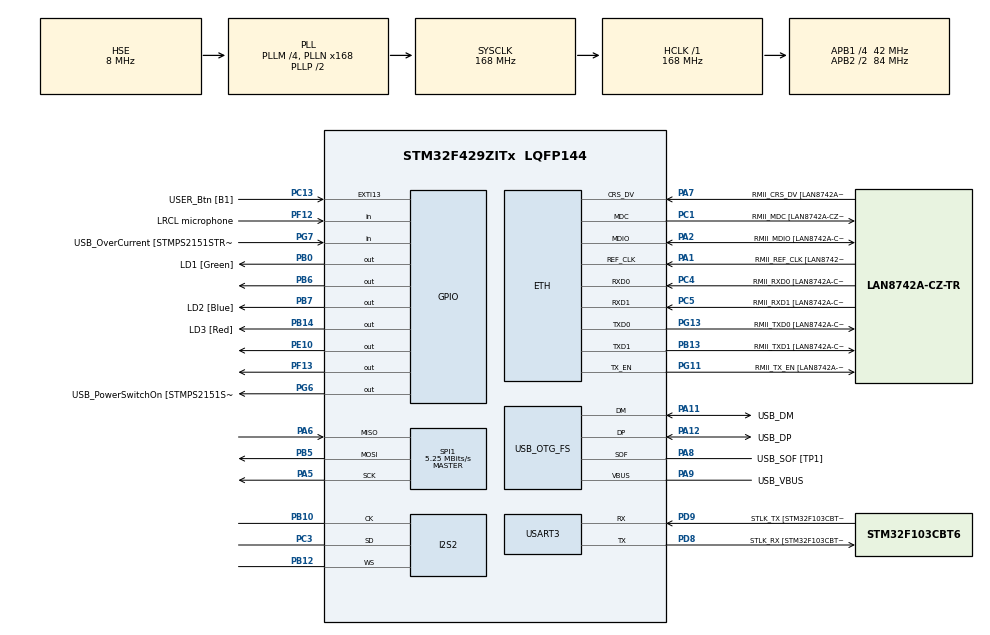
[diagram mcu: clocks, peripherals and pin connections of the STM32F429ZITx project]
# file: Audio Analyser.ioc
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Dma.Request0=SPI2_RX
Dma.SPI2_RX.0.Direction=DMA_PERIPH_TO_MEMORY
Dma.SPI2_RX.0.FIFOMode=DMA_FIFOMODE_DISABLE
Dma.SPI2_RX.0.Instance=DMA1_Stream3
Dma.SPI2_RX.0.MemDataAlignment=DMA_MDATAALIGN_HALFWORD
Dma.SPI2_RX.0.MemInc=DMA_MINC_ENABLE
Dma.SPI2_RX.0.Mode=DMA_NORMAL
Dma.SPI2_RX.0.PeriphDataAlignment=DMA_PDATAALIGN_HALFWORD
Dma.SPI2_RX.0.PeriphInc=DMA_PINC_DISABLE
Dma.SPI2_RX.0.Priority=DMA_PRIORITY_LOW
ETH.MediaInterface=HAL_ETH_RMII_MODE
ETH.PHY_Name=LAN8742A_PHY_ADDRESS
ETH.PHY_Value=0
ETH.PhyAddress=0
I2S2.AudioFreq=I2S_AUDIOFREQ_32K
I2S2.DataFormat=I2S_DATAFORMAT_16B_EXTENDED
I2S2.ErrorAudioFreq=-0.26 %
I2S2.FullDuplexMode=I2S_FULLDUPLEXMODE_DISABLE
I2S2.Instance=SPI$Index
I2S2.Mode=I2S_MODE_MASTER_RX
I2S2.RealAudioFreq=31.914 KHz
I2S2.VirtualMode=I2S_MODE_MASTER
Mcu.Family=STM32F4
Mcu.Name=STM32F429ZITx
Mcu.Package=LQFP144
NVIC.DMA1_Stream3_IRQn=true\:0\:0\:false\:false\:true\:false\:true\:true
NVIC.PriorityGroup=NVIC_PRIORITYGROUP_4
NVIC.TIM2_IRQn=true\:0\:0\:false\:false\:true\:true\:true\:true
PA1.GPIO_Label=RMII_REF_CLK [LAN8742A-CZ-TR_REFCLK0]
PA1.Mode=RMII
PA1.Signal=ETH_REF_CLK
PA10.GPIO_Label=USB_ID
PA10.Signal=USB_OTG_FS_ID
PA11.GPIO_Label=USB_DM
PA11.Mode=Device_Only
PA11.Signal=USB_OTG_FS_DM
PA12.GPIO_Label=USB_DP
PA12.Mode=Device_Only
PA12.Signal=USB_OTG_FS_DP
PA13.GPIO_Label=TMS
PA13.Mode=Serial_Wire
PA13.Signal=SYS_JTMS-SWDIO
PA14.GPIO_Label=TCK
PA14.Mode=Serial_Wire
PA14.Signal=SYS_JTCK-SWCLK
PA2.GPIO_Label=RMII_MDIO [LAN8742A-CZ-TR_MDIO]
PA2.Mode=RMII
PA2.Signal=ETH_MDIO
PA5.Mode=Full_Duplex_Master
PA5.Signal=SPI1_SCK
PA6.Mode=Full_Duplex_Master
PA6.Signal=SPI1_MISO
PA7.GPIO_Label=RMII_CRS_DV [LAN8742A-CZ-TR_CRS_DV]
PA7.Mode=RMII
PA7.Signal=ETH_CRS_DV
PA8.GPIO_Label=USB_SOF [TP1]
PA8.Mode=Activate_SOF_FS
PA8.Signal=USB_OTG_FS_SOF
PA9.GPIO_Label=USB_VBUS
PA9.Mode=Activate_VBUS
PA9.Signal=USB_OTG_FS_VBUS
PB0.GPIO_Label=LD1 [Green]
PB0.Signal=GPIO_Output
PB10.Mode=Half_Duplex_Master
PB10.Signal=I2S2_CK
PB12.Mode=Half_Duplex_Master
PB12.Signal=I2S2_WS
PB13.GPIO_Label=RMII_TXD1 [LAN8742A-CZ-TR_TXD1]
PB13.Mode=RMII
PB13.Signal=ETH_TXD1
PB14.GPIO_Label=LD3 [Red]
PB14.Signal=GPIO_Output
PB5.Mode=Full_Duplex_Master
PB5.Signal=SPI1_MOSI
PB6.Signal=GPIO_Output
PB7.GPIO_Label=LD2 [Blue]
PB7.Signal=GPIO_Output
PC1.GPIO_Label=RMII_MDC [LAN8742A-CZ-TR_MDC]
PC1.Mode=RMII
PC1.Signal=ETH_MDC
PC13.GPIO_Label=USER_Btn [B1]
PC13.Signal=GPXTI13
PC14/OSC32_IN.Mode=LSE-External-Oscillator
PC14/OSC32_IN.Signal=RCC_OSC32_IN
PC15/OSC32_OUT.Mode=LSE-External-Oscillator
PC15/OSC32_OUT.Signal=RCC_OSC32_OUT
PC3.Mode=Half_Duplex_Master
PC3.Signal=I2S2_SD
PC4.GPIO_Label=RMII_RXD0 [LAN8742A-CZ-TR_RXD0]
PC4.Mode=RMII
PC4.Signal=ETH_RXD0
PC5.GPIO_Label=RMII_RXD1 [LAN8742A-CZ-TR_RXD1]
PC5.Mode=RMII
PC5.Signal=ETH_RXD1
PD8.GPIO_Label=STLK_RX [STM32F103CBT6_PA3]
PD8.Mode=Asynchronous
PD8.Signal=USART3_TX
PD9.GPIO_Label=STLK_TX [STM32F103CBT6_PA2]
PD9.Mode=Asynchronous
PD9.Signal=USART3_RX
PE10.Signal=GPIO_Output
PF12.GPIO_Label=LRCL microphone
PF12.Signal=GPIO_Input
PF13.Signal=GPIO_Output
PG11.GPIO_Label=RMII_TX_EN [LAN8742A-CZ-TR_TXEN]
PG11.Mode=RMII
PG11.Signal=ETH_TX_EN
PG13.GPIO_Label=RMII_TXD0 [LAN8742A-CZ-TR_TXD0]
PG13.Mode=RMII
PG13.Signal=ETH_TXD0
PG6.GPIO_Label=USB_PowerSwitchOn [STMPS2151STR_EN]
PG6.Signal=GPIO_Output
PG7.GPIO_Label=USB_OverCurrent [STMPS2151STR_FAULT]
PG7.Signal=GPIO_Input
PH0/OSC_IN.GPIO_Label=MCO [STM32F103CBT6_PA8]
PH0/OSC_IN.Mode=HSE-External-Clock-Source
PH0/OSC_IN.Signal=RCC_OSC_IN
PH1/OSC_OUT.Mode=HSE-External-Clock-Source
PH1/OSC_OUT.Signal=RCC_OSC_OUT
ProjectManager.HeapSize=0x200
ProjectManager.StackSize=0x400
ProjectManager.TargetToolchain=STM32CubeIDE
RCC.48MHZClocksFreq_Value=48000000
RCC.AHBFreq_Value=168000000
RCC.APB1CLKDivider=RCC_HCLK_DIV4
RCC.APB1Freq_Value=42000000
RCC.APB1TimFreq_Value=84000000
RCC.APB2CLKDivider=RCC_HCLK_DIV2
RCC.APB2Freq_Value=84000000
RCC.APB2TimCLKDivider=2
RCC.APB2TimFreq_Value=168000000
RCC.CortexFreq_Value=168000000
RCC.HCLKFreq_Value=168000000
RCC.HSE_VALUE=8000000
RCC.HSI_VALUE=16000000
RCC.PLLM=4
RCC.PLLMUL=RCC_PLL_MUL9
RCC.PLLN=168
RCC.PLLQ=7
RCC.PRESCALERUSB=RCC_USBCLKSOURCE_PLL_DIV1_5
RCC.SYSCLKFreq_VALUE=168000000
RCC.SYSCLKSource=RCC_SYSCLKSOURCE_PLLCLK
RCC.SYSCLKSourceVirtual=RCC_SYSCLKSOURCE_PLLCLK
RCC.USBFreq_Value=48000000
RCC.VCOOutputFreq_Value=336000000
SPI1.BaudRatePrescaler=SPI_BAUDRATEPRESCALER_16
SPI1.CalculateBaudRate=5.25 MBits/s
SPI1.Direction=SPI_DIRECTION_2LINES
SPI1.FirstBit=SPI_FIRSTBIT_MSB
SPI1.Mode=SPI_MODE_MASTER
SPI1.VirtualType=VM_MASTER
TIM2.AutoReloadPreload=TIM_AUTORELOAD_PRELOAD_DISABLE
TIM2.Period=333
TIM2.Prescaler=8999
USART3.VirtualMode=VM_ASYNC
USB_OTG_FS.VirtualMode=Device_Only
VP_TIM2_VS_ClockSourceINT.Mode=Internal
board=NUCLEO-F429ZI

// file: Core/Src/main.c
/* USER CODE BEGIN Header */
/**
  ******************************************************************************
  * @file           : main.c
  * @brief          : Main program body
  ******************************************************************************
  * @attention
  *
  * Copyright (c) 2024 STMicroelectronics.
  * All rights reserved.
  *
  * This software is licensed under terms that can be found in the LICENSE file
  * in the root directory of this software component.
  * If no LICENSE file comes with this software, it is provided AS-IS.
  *
  ******************************************************************************
  */
/* USER CODE END Header */
#include "main.h"
#include "string.h"

/* USER CODE BEGIN Includes */

#include <stdio.h>
#include <string.h> // memcpy
#include <stdbool.h>
#include "display.h"
#include "Buffer/buffer.h"
#include "fft.h"

/* USER CODE END Includes */

ETH_TxPacketConfig TxConfig;
ETH_DMADescTypeDef  DMARxDscrTab[ETH_RX_DESC_CNT]; /* Ethernet Rx DMA Descriptors */
ETH_DMADescTypeDef  DMATxDscrTab[ETH_TX_DESC_CNT]; /* Ethernet Tx DMA Descriptors */

ETH_HandleTypeDef heth;

I2S_HandleTypeDef hi2s2;
DMA_HandleTypeDef hdma_spi2_rx;

SPI_HandleTypeDef hspi1;

TIM_HandleTypeDef htim2;

UART_HandleTypeDef huart3;

PCD_HandleTypeDef hpcd_USB_OTG_FS;

/* USER CODE BEGIN PV */

extern Buffer aGlobalBuffer;
float aAudioBuffer2[FFT_SIZE] = {};

bool bDataReady = false;
bool bRefreshDisplay = false;

int iCallbackState = 0;
arm_rfft_fast_instance_f32 pRFFTInstance2;

char pszBuffer[256] = {};

/* USER CODE END PV */

void SystemClock_Config(void);
static void MX_GPIO_Init(void);
static void MX_DMA_Init(void);
static void MX_ETH_Init(void);
static void MX_USART3_UART_Init(void);
static void MX_USB_OTG_FS_PCD_Init(void);
static void MX_SPI1_Init(void);
static void MX_I2S2_Init(void);
static void MX_TIM2_Init(void);

/* USER CODE BEGIN 0 */

void displayInit()
{
	const char init[] = "Starting the init process!\r\n";
	HAL_UART_Transmit(&huart3, (uint8_t*)init, sizeof(init)-1, HAL_MAX_DELAY);

	ST7735_Init();

    const char ready[] = "Ready!\r\n";
    HAL_UART_Transmit(&huart3, (uint8_t*)ready, sizeof(ready)-1, HAL_MAX_DELAY);
}

void HAL_I2S_RxHalfCpltCallback(I2S_HandleTypeDef* hi2s)
{
	iCallbackState = 1;
}

void HAL_I2S_RxCpltCallback(I2S_HandleTypeDef* hi2s)
{
	iCallbackState = 2;
}

void fftPipe()
{
	arm_rfft_fast_f32(&pRFFTInstance2, aAudioBuffer2, aGlobalBuffer.aFFTBuffer, 0);
	arm_cmplx_mag_f32(aGlobalBuffer.aFFTBuffer, aGlobalBuffer.aMagnitude, FFT_SIZE);

	bDataReady = true;
	iCallbackState = 0;
}

void HAL_TIM_PeriodElapsedCallback(TIM_HandleTypeDef *htim)
{
    if (htim->Instance == TIM2)
    {
    	bRefreshDisplay = true;
    }
}

/* USER CODE END 0 */

int main(void)
{

  /* MCU Configuration--------------------------------------------------------*/

  /* Reset of all peripherals, Initializes the Flash interface and the Systick. */
  HAL_Init();

  /* Configure the system clock */
  SystemClock_Config();

  /* Initialize all configured peripherals */
  MX_GPIO_Init();
  MX_DMA_Init();
  MX_ETH_Init();
  MX_USART3_UART_Init();
  MX_USB_OTG_FS_PCD_Init();
  MX_SPI1_Init();
  MX_I2S2_Init();
  MX_TIM2_Init();
  /* USER CODE BEGIN 2 */

  HAL_TIM_Base_Start_IT(&htim2);

  if (HAL_I2S_Receive_DMA(&hi2s2, (uint16_t *)aGlobalBuffer.aMicSamples, AUDIO_BUFFER_SIZE) != HAL_OK) {
      // Handle the error
	  const char noDMA[] = "Could not set up the DMA correctly!\r\n";
	  HAL_UART_Transmit(&huart3, (uint8_t*)noDMA, strlen(noDMA), HAL_MAX_DELAY);
      Error_Handler();
  }

  const char DMA[] = "The DMA has been set up!\r\n";
  HAL_UART_Transmit(&huart3, (uint8_t*)DMA, strlen(DMA), HAL_MAX_DELAY);

  /*
   * DC: PF13
   * RESET: PE10
   */

  if(arm_rfft_fast_init_f32(&pRFFTInstance2, FFT_SIZE) != ARM_MATH_SUCCESS)
  {
	  puts("NO SUCCESS");
  }
  else
  {
	  puts("SUCCESS");
  }

  displayInit();

  memset(aAudioBuffer2, 0, sizeof(aAudioBuffer2));

  drawInit();
  /* USER CODE END 2 */

  /* Infinite loop */
  /* USER CODE BEGIN WHILE */
  while (1)
  {
	// Solange ich kein neues Datenframe verarbeiten kann, warte ich
	// darauf, dass ich es kann

	if (iCallbackState == 2)
	{
		int offset = 0;

		// find offset
		for(;offset < FFT_SIZE; ++offset)
		{
			if(aGlobalBuffer.aMicSamples[offset] == 0 || aGlobalBuffer.aMicSamples[offset + 1] == 0)
			{
				continue;
			}
			else
			{
				break;
			}
		}

		memset(aAudioBuffer2, 0, sizeof(aAudioBuffer2));

		//for(int i = FFT_SIZE/2; i<FFT_SIZE; i++)
		for(int i = 0; i < FFT_SIZE; i++)
		{
			// Eigene Lösung:
			if(aGlobalBuffer.aMicSamples[i] == 0) continue;
			aAudioBuffer2[i] = (float)aGlobalBuffer.aMicSamples[i+offset];
		}

		fftPipe();

		if(!bDataReady)
			HAL_I2S_Receive_DMA(&hi2s2, (uint16_t *)aGlobalBuffer.aMicSamples, AUDIO_BUFFER_SIZE);
	}

	if(bDataReady)
	{
		 // Logarithmische Skala & Filter
		 for(int i = 0; i < FFT_SIZE/2; i++)
		 {
			 if(aGlobalBuffer.aMagnitude[i] == 0) continue;
			 if(aGlobalBuffer.aMagnitude[i] < 0.000001f) continue;

			 aGlobalBuffer.aMagnitude[i] = 20*log10f(aGlobalBuffer.aMagnitude[i]);

		 	 // Weighing down of noise
		 	 if (aGlobalBuffer.aMagnitude[i] < 100)
		 	 {
			 	 aGlobalBuffer.aMagnitude[i] *= 0.65;
		 	 }

		 	 // Negative Amplituden sind nicht erlaubt!
		 	 if(aGlobalBuffer.aMagnitude[i] < 0.f)
		 	 {
		 		 aGlobalBuffer.aMagnitude[i] = 0.f;
		 	 }
		 }

	}

	if(bRefreshDisplay && bDataReady)
	{
		draw();
		bRefreshDisplay = false;
		bDataReady = false;
	    HAL_I2S_Receive_DMA(&hi2s2, aGlobalBuffer.aMicSamples, AUDIO_BUFFER_SIZE);
	}

    /* USER CODE END WHILE */

  }
}

void SystemClock_Config(void)
{
  RCC_OscInitTypeDef RCC_OscInitStruct = {0};
  RCC_ClkInitTypeDef RCC_ClkInitStruct = {0};

  /** Configure the main internal regulator output voltage
  */
  __HAL_RCC_PWR_CLK_ENABLE();
  __HAL_PWR_VOLTAGESCALING_CONFIG(PWR_REGULATOR_VOLTAGE_SCALE1);

  /** Initializes the RCC Oscillators according to the specified parameters
  * in the RCC_OscInitTypeDef structure.
  */
  RCC_OscInitStruct.OscillatorType = RCC_OSCILLATORTYPE_HSE;
  RCC_OscInitStruct.HSEState = RCC_HSE_BYPASS;
  RCC_OscInitStruct.PLL.PLLState = RCC_PLL_ON;
  RCC_OscInitStruct.PLL.PLLSource = RCC_PLLSOURCE_HSE;
  RCC_OscInitStruct.PLL.PLLM = 4;
  RCC_OscInitStruct.PLL.PLLN = 168;
  RCC_OscInitStruct.PLL.PLLP = RCC_PLLP_DIV2;
  RCC_OscInitStruct.PLL.PLLQ = 7;
  if (HAL_RCC_OscConfig(&RCC_OscInitStruct) != HAL_OK)
  {
    Error_Handler();
  }

  /** Initializes the CPU, AHB and APB buses clocks
  */
  RCC_ClkInitStruct.ClockType = RCC_CLOCKTYPE_HCLK|RCC_CLOCKTYPE_SYSCLK
                              |RCC_CLOCKTYPE_PCLK1|RCC_CLOCKTYPE_PCLK2;
  RCC_ClkInitStruct.SYSCLKSource = RCC_SYSCLKSOURCE_PLLCLK;
  RCC_ClkInitStruct.AHBCLKDivider = RCC_SYSCLK_DIV1;
  RCC_ClkInitStruct.APB1CLKDivider = RCC_HCLK_DIV4;
  RCC_ClkInitStruct.APB2CLKDivider = RCC_HCLK_DIV2;

  if (HAL_RCC_ClockConfig(&RCC_ClkInitStruct, FLASH_LATENCY_5) != HAL_OK)
  {
    Error_Handler();
  }
}

static void MX_ETH_Init(void)
{

   static uint8_t MACAddr[6];

  heth.Instance = ETH;
  MACAddr[0] = 0x00;
  MACAddr[1] = 0x80;
  MACAddr[2] = 0xE1;
  MACAddr[3] = 0x00;
  MACAddr[4] = 0x00;
  MACAddr[5] = 0x00;
  heth.Init.MACAddr = &MACAddr[0];
  heth.Init.MediaInterface = HAL_ETH_RMII_MODE;
  heth.Init.TxDesc = DMATxDscrTab;
  heth.Init.RxDesc = DMARxDscrTab;
  heth.Init.RxBuffLen = 1524;

  if (HAL_ETH_Init(&heth) != HAL_OK)
  {
    Error_Handler();
  }

  memset(&TxConfig, 0 , sizeof(ETH_TxPacketConfig));
  TxConfig.Attributes = ETH_TX_PACKETS_FEATURES_CSUM | ETH_TX_PACKETS_FEATURES_CRCPAD;
  TxConfig.ChecksumCtrl = ETH_CHECKSUM_IPHDR_PAYLOAD_INSERT_PHDR_CALC;
  TxConfig.CRCPadCtrl = ETH_CRC_PAD_INSERT;

}

static void MX_I2S2_Init(void)
{

  hi2s2.Instance = SPI2;
  hi2s2.Init.Mode = I2S_MODE_MASTER_RX;
  hi2s2.Init.Standard = I2S_STANDARD_PHILIPS;
  hi2s2.Init.DataFormat = I2S_DATAFORMAT_16B_EXTENDED;
  hi2s2.Init.MCLKOutput = I2S_MCLKOUTPUT_DISABLE;
  hi2s2.Init.AudioFreq = I2S_AUDIOFREQ_32K;
  hi2s2.Init.CPOL = I2S_CPOL_LOW;
  hi2s2.Init.ClockSource = I2S_CLOCK_PLL;
  hi2s2.Init.FullDuplexMode = I2S_FULLDUPLEXMODE_DISABLE;
  if (HAL_I2S_Init(&hi2s2) != HAL_OK)
  {
    Error_Handler();
  }

}

static void MX_SPI1_Init(void)
{

  /* SPI1 parameter configuration*/
  hspi1.Instance = SPI1;
  hspi1.Init.Mode = SPI_MODE_MASTER;
  hspi1.Init.Direction = SPI_DIRECTION_2LINES;
  hspi1.Init.DataSize = SPI_DATASIZE_8BIT;
  hspi1.Init.CLKPolarity = SPI_POLARITY_LOW;
  hspi1.Init.CLKPhase = SPI_PHASE_1EDGE;
  hspi1.Init.NSS = SPI_NSS_SOFT;
  hspi1.Init.BaudRatePrescaler = SPI_BAUDRATEPRESCALER_16;
  hspi1.Init.FirstBit = SPI_FIRSTBIT_MSB;
  hspi1.Init.TIMode = SPI_TIMODE_DISABLE;
  hspi1.Init.CRCCalculation = SPI_CRCCALCULATION_DISABLE;
  hspi1.Init.CRCPolynomial = 10;
  if (HAL_SPI_Init(&hspi1) != HAL_OK)
  {
    Error_Handler();
  }

}

static void MX_TIM2_Init(void)
{

  TIM_ClockConfigTypeDef sClockSourceConfig = {0};
  TIM_MasterConfigTypeDef sMasterConfig = {0};

  htim2.Instance = TIM2;
  htim2.Init.Prescaler = 8999;
  htim2.Init.CounterMode = TIM_COUNTERMODE_UP;
  htim2.Init.Period = 333;
  htim2.Init.ClockDivision = TIM_CLOCKDIVISION_DIV1;
  htim2.Init.AutoReloadPreload = TIM_AUTORELOAD_PRELOAD_DISABLE;
  if (HAL_TIM_Base_Init(&htim2) != HAL_OK)
  {
    Error_Handler();
  }
  sClockSourceConfig.ClockSource = TIM_CLOCKSOURCE_INTERNAL;
  if (HAL_TIM_ConfigClockSource(&htim2, &sClockSourceConfig) != HAL_OK)
  {
    Error_Handler();
  }
  sMasterConfig.MasterOutputTrigger = TIM_TRGO_RESET;
  sMasterConfig.MasterSlaveMode = TIM_MASTERSLAVEMODE_DISABLE;
  if (HAL_TIMEx_MasterConfigSynchronization(&htim2, &sMasterConfig) != HAL_OK)
  {
    Error_Handler();
  }

}

static void MX_USART3_UART_Init(void)
{

  huart3.Instance = USART3;
  huart3.Init.BaudRate = 115200;
  huart3.Init.WordLength = UART_WORDLENGTH_8B;
  huart3.Init.StopBits = UART_STOPBITS_1;
  huart3.Init.Parity = UART_PARITY_NONE;
  huart3.Init.Mode = UART_MODE_TX_RX;
  huart3.Init.HwFlowCtl = UART_HWCONTROL_NONE;
  huart3.Init.OverSampling = UART_OVERSAMPLING_16;
  if (HAL_UART_Init(&huart3) != HAL_OK)
  {
    Error_Handler();
  }

}

static void MX_USB_OTG_FS_PCD_Init(void)
{

  hpcd_USB_OTG_FS.Instance = USB_OTG_FS;
  hpcd_USB_OTG_FS.Init.dev_endpoints = 4;
  hpcd_USB_OTG_FS.Init.speed = PCD_SPEED_FULL;
  hpcd_USB_OTG_FS.Init.dma_enable = DISABLE;
  hpcd_USB_OTG_FS.Init.phy_itface = PCD_PHY_EMBEDDED;
  hpcd_USB_OTG_FS.Init.Sof_enable = ENABLE;
  hpcd_USB_OTG_FS.Init.low_power_enable = DISABLE;
  hpcd_USB_OTG_FS.Init.lpm_enable = DISABLE;
  hpcd_USB_OTG_FS.Init.vbus_sensing_enable = ENABLE;
  hpcd_USB_OTG_FS.Init.use_dedicated_ep1 = DISABLE;
  if (HAL_PCD_Init(&hpcd_USB_OTG_FS) != HAL_OK)
  {
    Error_Handler();
  }

}

static void MX_DMA_Init(void)
{

  /* DMA controller clock enable */
  __HAL_RCC_DMA1_CLK_ENABLE();

  /* DMA interrupt init */
  /* DMA1_Stream3_IRQn interrupt configuration */
  HAL_NVIC_SetPriority(DMA1_Stream3_IRQn, 0, 0);
  HAL_NVIC_EnableIRQ(DMA1_Stream3_IRQn);

}

static void MX_GPIO_Init(void)
{
  GPIO_InitTypeDef GPIO_InitStruct = {0};

  /* GPIO Ports Clock Enable */
  __HAL_RCC_GPIOC_CLK_ENABLE();
  __HAL_RCC_GPIOH_CLK_ENABLE();
  __HAL_RCC_GPIOA_CLK_ENABLE();
  __HAL_RCC_GPIOB_CLK_ENABLE();
  __HAL_RCC_GPIOF_CLK_ENABLE();
  __HAL_RCC_GPIOE_CLK_ENABLE();
  __HAL_RCC_GPIOD_CLK_ENABLE();
  __HAL_RCC_GPIOG_CLK_ENABLE();

  /*Configure GPIO pin Output Level */
  HAL_GPIO_WritePin(GPIOB, LD1_Pin|LD3_Pin|GPIO_PIN_6|LD2_Pin, GPIO_PIN_RESET);

  /*Configure GPIO pin Output Level */
  HAL_GPIO_WritePin(GPIOF, GPIO_PIN_13, GPIO_PIN_RESET);

  /*Configure GPIO pin Output Level */
  HAL_GPIO_WritePin(GPIOE, GPIO_PIN_10, GPIO_PIN_RESET);

  /*Configure GPIO pin Output Level */
  HAL_GPIO_WritePin(USB_PowerSwitchOn_GPIO_Port, USB_PowerSwitchOn_Pin, GPIO_PIN_RESET);

  /*Configure GPIO pin : USER_Btn_Pin */
  GPIO_InitStruct.Pin = USER_Btn_Pin;
  GPIO_InitStruct.Mode = GPIO_MODE_IT_RISING;
  GPIO_InitStruct.Pull = GPIO_NOPULL;
  HAL_GPIO_Init(USER_Btn_GPIO_Port, &GPIO_InitStruct);

  /*Configure GPIO pins : LD1_Pin LD3_Pin PB6 LD2_Pin */
  GPIO_InitStruct.Pin = LD1_Pin|LD3_Pin|GPIO_PIN_6|LD2_Pin;
  GPIO_InitStruct.Mode = GPIO_MODE_OUTPUT_PP;
  GPIO_InitStruct.Pull = GPIO_NOPULL;
  GPIO_InitStruct.Speed = GPIO_SPEED_FREQ_LOW;
  HAL_GPIO_Init(GPIOB, &GPIO_InitStruct);

  /*Configure GPIO pin : LRCL_microphone_Pin */
  GPIO_InitStruct.Pin = LRCL_microphone_Pin;
  GPIO_InitStruct.Mode = GPIO_MODE_INPUT;
  GPIO_InitStruct.Pull = GPIO_NOPULL;
  HAL_GPIO_Init(LRCL_microphone_GPIO_Port, &GPIO_InitStruct);

  /*Configure GPIO pin : PF13 */
  GPIO_InitStruct.Pin = GPIO_PIN_13;
  GPIO_InitStruct.Mode = GPIO_MODE_OUTPUT_PP;
  GPIO_InitStruct.Pull = GPIO_NOPULL;
  GPIO_InitStruct.Speed = GPIO_SPEED_FREQ_LOW;
  HAL_GPIO_Init(GPIOF, &GPIO_InitStruct);

  /*Configure GPIO pin : PE10 */
  GPIO_InitStruct.Pin = GPIO_PIN_10;
  GPIO_InitStruct.Mode = GPIO_MODE_OUTPUT_PP;
  GPIO_InitStruct.Pull = GPIO_NOPULL;
  GPIO_InitStruct.Speed = GPIO_SPEED_FREQ_LOW;
  HAL_GPIO_Init(GPIOE, &GPIO_InitStruct);

  /*Configure GPIO pin : USB_PowerSwitchOn_Pin */
  GPIO_InitStruct.Pin = USB_PowerSwitchOn_Pin;
  GPIO_InitStruct.Mode = GPIO_MODE_OUTPUT_PP;
  GPIO_InitStruct.Pull = GPIO_NOPULL;
  GPIO_InitStruct.Speed = GPIO_SPEED_FREQ_LOW;
  HAL_GPIO_Init(USB_PowerSwitchOn_GPIO_Port, &GPIO_InitStruct);

  /*Configure GPIO pin : USB_OverCurrent_Pin */
  GPIO_InitStruct.Pin = USB_OverCurrent_Pin;
  GPIO_InitStruct.Mode = GPIO_MODE_INPUT;
  GPIO_InitStruct.Pull = GPIO_NOPULL;
  HAL_GPIO_Init(USB_OverCurrent_GPIO_Port, &GPIO_InitStruct);

}

void Error_Handler(void)
{
  __disable_irq();
  while (1)
  {
  }
}
